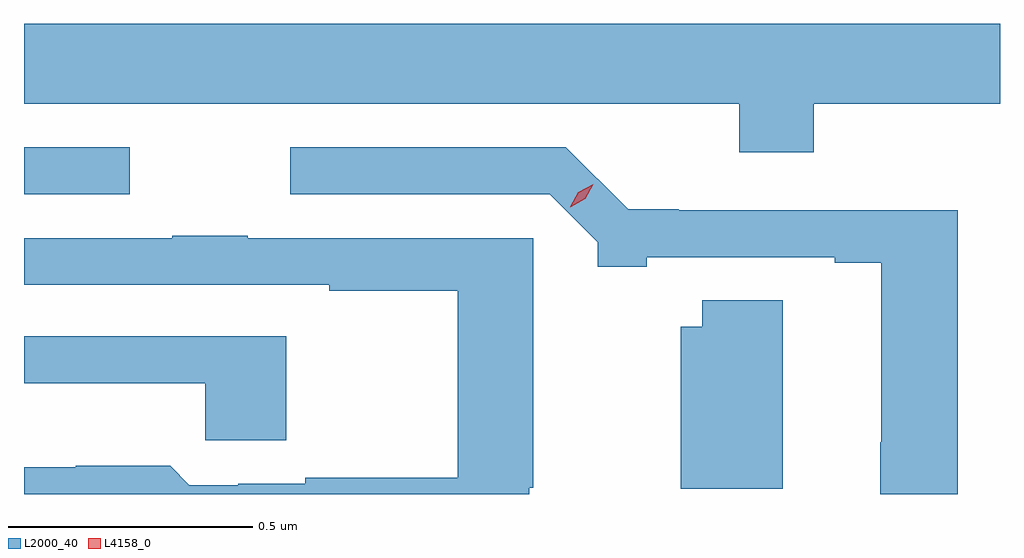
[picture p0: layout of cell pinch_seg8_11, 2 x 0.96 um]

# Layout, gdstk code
import gdstk
lib = gdstk.Library(unit=1e-6, precision=1e-09)
def R(c, l, rs):  # rectangles x0, y0, x1, y1
    for r in rs: c.add(gdstk.rectangle(r[:2], r[2:], *l))
def P(c, l, *ps):  # polygons
    for p in ps: c.add(gdstk.Polygon(p, *l))
L2000_40 = (2000, 40)
L4158_0 = (4158, 0)

pinch_seg8_11 = lib.new_cell('pinch_seg8_11')
R(pinch_seg8_11, L2000_40, [(1044.687,1125.639,1044.904,1125.735)])
P(pinch_seg8_11, L2000_40, [(1046.305,1125.824),(1046.687,1125.824),(1046.687,1125.988),(1044.687,1125.988),(1044.687,1125.824),(1046.153,1125.824),(1046.153,1125.725),(1046.305,1125.725)],
  [(1046.6,1125.606),(1046.029,1125.606),(1046.029,1125.608),(1045.925,1125.608),(1045.797,1125.735),(1045.233,1125.735),(1045.233,1125.639),(1045.764,1125.639),(1045.863,1125.54),(1045.863,1125.49),(1045.963,1125.49),(1045.963,1125.51),(1046.348,1125.51),(1046.348,1125.498),(1046.444,1125.498),(1046.444,1125.13),(1046.442,1125.13),(1046.442,1125.024),(1046.6,1125.024)],
  [(1045.722,1125.037),(1045.731,1125.037),(1045.731,1125.549),(1045.145,1125.549),(1045.145,1125.554),(1044.991,1125.554),(1044.991,1125.549),(1044.687,1125.549),(1044.687,1125.453),(1045.312,1125.453),(1045.312,1125.441),(1045.576,1125.441),(1045.576,1125.058),(1045.263,1125.058),(1045.263,1125.045),(1045.126,1125.045),(1045.126,1125.042),(1045.026,1125.042),(1044.987,1125.082),(1044.793,1125.082),(1044.793,1125.079),(1044.687,1125.079),(1044.687,1125.024),(1045.722,1125.024)],
  [(1046.242,1125.421),(1046.077,1125.421),(1046.077,1125.367),(1046.033,1125.367),(1046.033,1125.035),(1046.242,1125.035)],
  [(1045.224,1125.348),(1044.687,1125.348),(1044.687,1125.251),(1045.058,1125.251),(1045.058,1125.135),(1045.224,1125.135)])
P(pinch_seg8_11, L4158_0, [(1045.806,1125.612),(1045.806,1125.613),(1045.823,1125.643),(1045.854,1125.659),(1045.854,1125.659),(1045.854,1125.659),(1045.837,1125.629),(1045.806,1125.612)])

lib.write_gds('pinch_seg8_11.gds')
